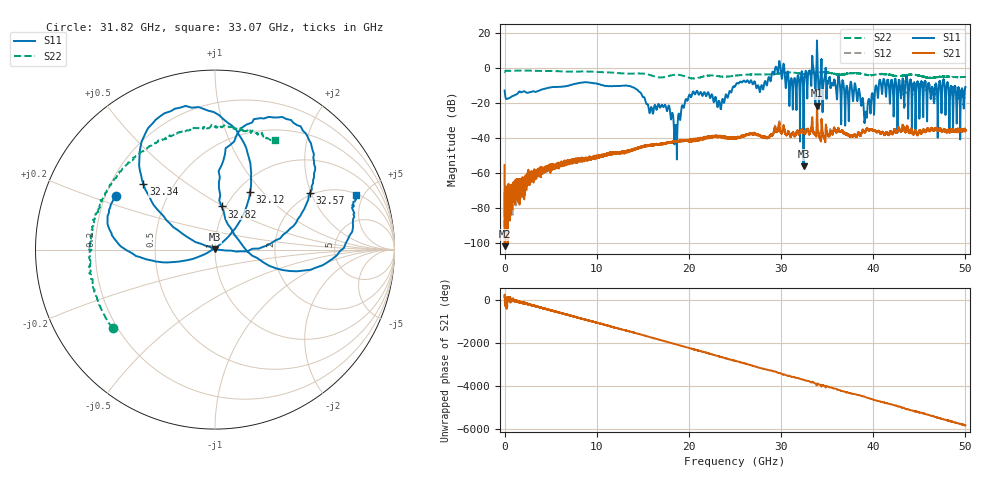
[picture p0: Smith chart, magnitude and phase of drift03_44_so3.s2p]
!Created with skrf (http://scikit-rf.org).
# Hz S RI R 50.0
!freq ReS11 ImS11 ReS21 ImS21 ReS12 ImS12 ReS22 ImS22
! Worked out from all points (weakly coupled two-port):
!   10001 points, 300 kHz to 50 GHz, reference 50 ohm
!   highest |S21| = -21.45 dB at 33.9 GHz (marker M1); lowest = -101.6 dB at 15.3 MHz (marker M2)
!   lowest |S11| = -55.9 dB at 32.44 GHz (marker M3), VSWR 1.00, Z = 49.9 + j0.0738 ohm
!   |S11| at or under -10 dB: start of sweep to 6.94 GHz; 13.32 GHz to 25.05 GHz (11.73 GHz wide, 61.2 % of centre); 38.08 GHz to 40.26 GHz (2.189 GHz wide, 5.59 % of centre) (the widest 3 of 56)
!   |S22| runs from -5.9 to -1.3 dB; largest |S21 - S12| = 0.0095
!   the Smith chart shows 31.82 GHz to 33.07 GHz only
!   S11 on the Smith chart (normalised r, x): 31.82 GHz: 0.24, +0.24; 32.12 GHz: 1.14, +0.85; 32.34 GHz: 0.34, +0.35; 32.57 GHz: 1.92, +1.98; 32.82 GHz: 0.95, +0.49; 33.07 GHz: 2.10, +4.40
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300000  -0.2089 -0.0979  -0.000869 0.00148  0.00109 0.00094  -0.7665 -0.1916
1.529991e7  -0.2065 0.03  -1.42e-06 8.23e-06  -3.61e-05 -9.58e-05  -0.7931 -0.00224
1.530291e9  0.2029 0.0459  -0.000208 -0.000475  -0.000197 -0.000645  0.849 0.0858
3.160281e9  -0.2184 -0.00838  -7.21e-05 0.000851  0.000124 0.001  -0.8444 -0.0254
4.665272e9  0.2636 0.0617  -0.000267 -0.00129  -0.000168 -0.00143  0.8188 0.1427
8.33525e9  0.2842 -0.2673  -0.00253 -0.000845  -0.00222 -0.000962  0.602 -0.5355
9.590242e9  -0.3715 -0.0372  0.00157 0.00246  0.00142 0.00247  -0.7872 -0.0739
1.123523e10  0.3053 0.0296  -0.00215 -0.00289  -0.00214 -0.00255  0.7572 0.0358
1.66702e10  0.0541 0.0754  0.00459 -0.00478  0.00455 -0.00501  -0.36 0.4179
2.500015e10  -0.2959 -0.0489  0.00789 0.00621  0.00808 0.00644  -0.1828 -0.5845
3.051012e10  0.2494 -0.1054  -0.00249 0.0127  -0.00243 0.0128  0.7423 -0.058
3.181511e10  -0.5499 0.2986  0.0117 -0.0106  0.011 -0.00944  -0.5701 -0.4393
3.212011e10  0.1951 0.3207  0.000478 -0.0145  -0.000382 -0.015  -0.6878 -0.00142
3.233511e10  -0.3985 0.3645  -0.00379 -0.0149  -0.00352 -0.0151  -0.6133 0.3014
3.243511e10  -0.00142 0.00074  -0.00891 -0.0124  -0.00904 -0.0123  -0.5336 0.434
3.25701e10  0.5304 0.3178  -0.00999 -0.00893  -0.01 -0.00919  -0.3751 0.5688
3.28151e10  0.0363 0.2403  -0.0166 -0.00267  -0.0165 -0.00265  -0.0275 0.6818
3.30701e10  0.7863 0.3039  -0.0129 0.0027  -0.0127 0.00341  0.3316 0.6122
3.33351e10  0.4772 -0.9917  -0.0057 0.0256  -0.00521 0.0246  0.6123 0.3687
3.38951e10  -0.8017 -6.132  0.0843 0.0076  0.0801 0.00516  0.6843 -0.3205
4.167005e10  -0.2192 0.2854  -0.0118 -0.00448  -0.0113 -0.00519  -0.658 -0.056
5e10  -0.1454 -0.2502  0.0012 -0.0168  0.00193 -0.017  0.4704 -0.3144
